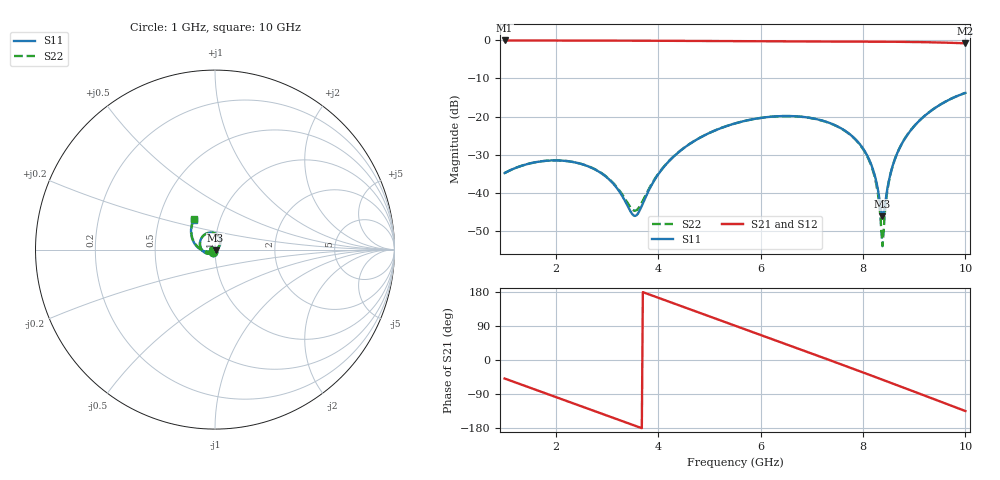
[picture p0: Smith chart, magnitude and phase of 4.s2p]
! Touchstone file exported from HFSS 2018.2.0
!  File:  C:/Users/10024/OneDrive - The University of Nottingham Ningbo China/Year 4/Final Year Project/HFSS project/Passive_Resonator_Antenna.aedt
!  Generated:  5:09:48 下午  3月 11, 2022
!  Design:  SMA_Thru
!  Project:  Passive_Resonator_Antenna
!  Setup:  Setup1
!  Solution:  Sweep
! Variables:
!  MW = 1.992mm
!  ThruL = 4mm
!  g = 0.2mm
!  subH = 0.8mm
!  subX = 20mm
!  subY = 14mm
!  tapW = 1.992mm
# GHZ S MA R 50.000000
! Modal data exported
! Port[1] = SMA_CONNECTOR1_1:1
! Port[2] = SMA_CONNECTOR2_1:1
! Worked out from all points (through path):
!   451 points, 1 GHz to 10 GHz, reference 50 ohm
!   highest |S21| = -0.01 dB at 1 GHz (marker M1); lowest = -0.8 dB at 10 GHz (marker M2)
!   group delay of S21, straight-line fit = 137 ps
!   lowest |S11| = -46.1 dB at 8.38 GHz (marker M3), VSWR 1.01, Z = 50.3 - j0.4 ohm
!   |S11| at or under -10 dB: start of sweep to end of sweep
!   |S22| runs from -54.0 to -13.8 dB; largest |S21 - S12| = 1.8e-14
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1  0.01812 -138.8  0.999 -48.8  0.999 -48.8  0.01812 -138.8
! Gamma ! 0.0151858380091562 30.3716836111852 0.0151858380091471 30.371683611206
! Port Impedance50 0 50 0
1.76  0.02607 -174.6  0.9975 -86.0  0.9975 -86.0  0.02608 -173.7
2.5  0.02383 151.7  0.9957 -122.1  0.9957 -122.1  0.02389 153.5
3.06  0.01455 133.0  0.994 -149.5  0.994 -149.5  0.01476 136.3
3.54  0.004963 177.9  0.9921 -173.1  0.9921 -173.1  0.005808 179.2
4  0.01741 -128.4  0.9899 164.3  0.9899 164.3  0.0177 -130.5
4.8  0.05207 -156.2  0.9844 125.0  0.9844 125.0  0.05211 -156.4
5.5  0.08131 171.4  0.9783 90.6  0.9783 90.6  0.08124 171.7
6.2  0.09957 137.5  0.9723 56.3  0.9723 56.3  0.0994 138.3
7  0.09536 97.7  0.9678 16.9  0.9678 16.9  0.09506 99.0
7.62  0.06707 65.3  0.9661 -13.8  0.9661 -13.8  0.06665 67.4
8.02  0.03637 41.4  0.9649 -33.8  0.9649 -33.8  0.03577 45.7
8.24  0.01589 20.0  0.9637 -44.9  0.9637 -44.9  0.0149 30.1
8.3  0.01021 6.2  0.9633 -47.9  0.9633 -47.9  0.00883 21.7
8.36  0.00556 -30.1  0.9628 -50.9  0.9628 -50.9  0.003008 -9.6
8.38  0.004928 -53.8  0.9626 -52.0  0.9626 -52.0  0.001987 -56.3
8.42  0.006269 -99.7  0.9623 -54.0  0.9623 -54.0  0.0047 -126.5
8.5  0.01376 -134.5  0.9615 -58.0  0.9615 -58.0  0.01337 -147.0
8.68  0.03439 -156.4  0.9592 -67.2  0.9592 -67.2  0.03448 -161.5
8.98  0.07221 -176.4  0.9539 -82.5  0.9539 -82.5  0.07247 -178.8
9.46  0.1368 156.1  0.9404 -107.1  0.9404 -107.1  0.1372 154.8
10  0.2045 125.4  0.9172 -134.7  0.9172 -134.7  0.205 124.6
